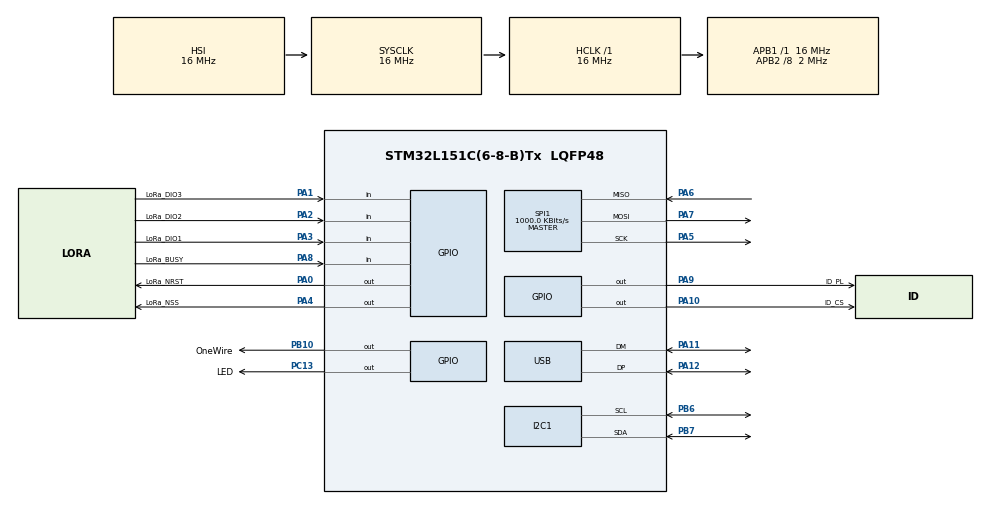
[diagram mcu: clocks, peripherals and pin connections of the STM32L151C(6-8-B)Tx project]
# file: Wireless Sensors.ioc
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Mcu.Family=STM32L1
Mcu.Name=STM32L151C(6-8-B)Tx
Mcu.Package=LQFP48
NVIC.PriorityGroup=NVIC_PRIORITYGROUP_4
NVIC.USB_LP_IRQn=true\:0\:0\:false\:false\:true\:false\:true\:true
PA0-WKUP1.GPIO_Label=LoRa_NRST
PA0-WKUP1.Signal=GPIO_Output
PA1.GPIO_Label=LoRa_DIO3
PA1.Signal=GPIO_Input
PA10.GPIO_Label=ID_CS
PA10.Signal=GPIO_Output
PA11.Mode=Device
PA11.Signal=USB_DM
PA12.Mode=Device
PA12.Signal=USB_DP
PA13.Mode=Trace_Asynchronous_SW
PA13.Signal=SYS_JTMS-SWDIO
PA14.Mode=Trace_Asynchronous_SW
PA14.Signal=SYS_JTCK-SWCLK
PA2.GPIO_Label=LoRa_DIO2
PA2.Signal=GPIO_Input
PA3.GPIO_Label=LoRa_DIO1
PA3.Signal=GPIO_Input
PA4.GPIO_Label=LoRa_NSS
PA4.Signal=GPIO_Output
PA5.Mode=Full_Duplex_Master
PA5.Signal=SPI1_SCK
PA6.Mode=Full_Duplex_Master
PA6.Signal=SPI1_MISO
PA7.Mode=Full_Duplex_Master
PA7.Signal=SPI1_MOSI
PA8.GPIO_Label=LoRa_BUSY
PA8.Signal=GPIO_Input
PA9.GPIO_Label=ID_PL
PA9.Signal=GPIO_Output
PB10.GPIO_Label=OneWire
PB10.Signal=GPIO_Output
PB3.Mode=Trace_Asynchronous_SW
PB3.Signal=SYS_JTDO-TRACESWO
PB6.Mode=I2C
PB6.Signal=I2C1_SCL
PB7.Mode=I2C
PB7.Signal=I2C1_SDA
PC13-WKUP2.GPIO_Label=LED
PC13-WKUP2.Signal=GPIO_Output
PH0-OSC_IN.Mode=HSE-External-Oscillator
PH0-OSC_IN.Signal=RCC_OSC_IN
PH1-OSC_OUT.Mode=HSE-External-Oscillator
PH1-OSC_OUT.Signal=RCC_OSC_OUT
ProjectManager.HeapSize=0x200
ProjectManager.StackSize=0x400
ProjectManager.TargetToolchain=STM32CubeIDE
RCC.48MHZClocksFreq_Value=48000000
RCC.AHBFreq_Value=16000000
RCC.APB1Freq_Value=16000000
RCC.APB1TimFreq_Value=16000000
RCC.APB2CLKDivider=RCC_HCLK_DIV8
RCC.APB2Freq_Value=2000000
RCC.APB2TimFreq_Value=4000000
RCC.HCLKFreq_Value=16000000
RCC.HSE_VALUE=16000000
RCC.HSI_VALUE=16000000
RCC.LSE_VALUE=32768
RCC.MSI_VALUE=2097000
RCC.PLLMUL=RCC_PLL_MUL6
RCC.SYSCLKFreq_VALUE=16000000
RCC.SYSCLKSource=RCC_SYSCLKSOURCE_HSI
RCC.VCOOutputFreq_Value=96000000
SPI1.CalculateBaudRate=1000.0 KBits/s
SPI1.Direction=SPI_DIRECTION_2LINES
SPI1.Mode=SPI_MODE_MASTER
SPI1.VirtualType=VM_MASTER
USB.low_power_enable=DISABLE
USB.lpm_enable=DISABLE
USB_DEVICE.CLASS_NAME_FS=CDC
USB_DEVICE.VirtualMode=Cdc
USB_DEVICE.VirtualModeFS=Cdc_FS
VP_USB_DEVICE_VS_USB_DEVICE_CDC_FS.Mode=CDC_FS
board=custom

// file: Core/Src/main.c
/* USER CODE BEGIN Header */
/**
  ******************************************************************************
  * @file           : main.c
  * @brief          : Main program body
  ******************************************************************************
  * @attention
  *
  * Copyright (c) 2023 STMicroelectronics.
  * All rights reserved.
  *
  * This software is licensed under terms that can be found in the LICENSE file
  * in the root directory of this software component.
  * If no LICENSE file comes with this software, it is provided AS-IS.
  *
  ******************************************************************************
  */
/* USER CODE END Header */
#include "main.h"
#include "usb_device.h"

/* USER CODE BEGIN Includes */
#include "usbd_cdc_if.h"
#include <SX1262.h>

/* USER CODE END Includes */

I2C_HandleTypeDef hi2c1;

SPI_HandleTypeDef hspi1;

void SystemClock_Config(void);
static void MX_GPIO_Init(void);
static void MX_I2C1_Init(void);
static void MX_SPI1_Init(void);

/* USER CODE BEGIN 0 */

uint8_t ReadModuleID(void)
{
	uint8_t id;

	HAL_SPI_Receive(&hspi1, &id, 1, 100);				/* this read is just to initialize everything */
	HAL_GPIO_WritePin (GPIOA, ID_PL_Pin, GPIO_PIN_RESET); /* Pull ID load signal low to prepare to load the shift register */
	HAL_GPIO_WritePin (GPIOA, ID_PL_Pin, GPIO_PIN_SET);   /* Pull ID load signal high to load the shift register */
	HAL_GPIO_WritePin (GPIOA, ID_CS_Pin, GPIO_PIN_RESET); /* Pull CS signal low to gate signal onto SPI bus */
	HAL_SPI_Receive(&hspi1, &id, 1, 100);				/* read module ID */
	HAL_GPIO_WritePin (GPIOA, ID_CS_Pin, GPIO_PIN_SET); /* Pull CS signal high to release SPI bus */
	return(id);
}

/* USER CODE END 0 */

int main(void)
{

  /* MCU Configuration--------------------------------------------------------*/

  /* Reset of all peripherals, Initializes the Flash interface and the Systick. */
  HAL_Init();

  /* Configure the system clock */
  SystemClock_Config();

  /* Initialize all configured peripherals */
  MX_GPIO_Init();
  MX_I2C1_Init();
  MX_SPI1_Init();
  MX_USB_DEVICE_Init();
  /* USER CODE BEGIN 2 */

  /* initialize the LoRa chip */
 // LoRa_Init(&hspi1);

  /* Send a status message to USB port */
  uint8_t buffer[256];
  sprintf((char *)buffer, "Entering transmit loop\r\n");
  CDC_Transmit_FS(buffer, strlen((char *)buffer)); /* Send the message on USB */

  int count = 0;
  uint8_t moduleID;

  /* USER CODE END 2 */

  /* Infinite loop */
  /* USER CODE BEGIN WHILE */
  while (1)
  {
	  count++;
	  sprintf((char *)buffer, "Count = %d\r\n", count);
	  HAL_GPIO_WritePin(LED_GPIO_Port, LED_Pin, GPIO_PIN_SET); /* Turn on the LED */
//	  LoRaTransmit(buffer, strlen((char *)buffer));
	  moduleID = ReadModuleID();
	  HAL_Delay(500);
	  HAL_GPIO_WritePin(LED_GPIO_Port, LED_Pin, GPIO_PIN_RESET); /* Turn off the LED */
//	  LoRaReceive(buffer, 0); /* go to receive mode with timeout = 0 (wait forever for one message) */
	  CDC_Transmit_FS(buffer, strlen((char *)buffer)); /* Send the message on USB */
	  HAL_Delay(500);
  }
    /* USER CODE END WHILE */

}

void SystemClock_Config(void)
{
  RCC_OscInitTypeDef RCC_OscInitStruct = {0};
  RCC_ClkInitTypeDef RCC_ClkInitStruct = {0};

  /** Configure the main internal regulator output voltage
  */
  __HAL_PWR_VOLTAGESCALING_CONFIG(PWR_REGULATOR_VOLTAGE_SCALE1);

  /** Initializes the RCC Oscillators according to the specified parameters
  * in the RCC_OscInitTypeDef structure.
  */
  RCC_OscInitStruct.OscillatorType = RCC_OSCILLATORTYPE_HSI|RCC_OSCILLATORTYPE_HSE;
  RCC_OscInitStruct.HSEState = RCC_HSE_ON;
  RCC_OscInitStruct.HSIState = RCC_HSI_ON;
  RCC_OscInitStruct.HSICalibrationValue = RCC_HSICALIBRATION_DEFAULT;
  RCC_OscInitStruct.PLL.PLLState = RCC_PLL_ON;
  RCC_OscInitStruct.PLL.PLLSource = RCC_PLLSOURCE_HSE;
  RCC_OscInitStruct.PLL.PLLMUL = RCC_PLL_MUL6;
  RCC_OscInitStruct.PLL.PLLDIV = RCC_PLL_DIV2;
  if (HAL_RCC_OscConfig(&RCC_OscInitStruct) != HAL_OK)
  {
    Error_Handler();
  }

  /** Initializes the CPU, AHB and APB buses clocks
  */
  RCC_ClkInitStruct.ClockType = RCC_CLOCKTYPE_HCLK|RCC_CLOCKTYPE_SYSCLK
                              |RCC_CLOCKTYPE_PCLK1|RCC_CLOCKTYPE_PCLK2;
  RCC_ClkInitStruct.SYSCLKSource = RCC_SYSCLKSOURCE_HSI;
  RCC_ClkInitStruct.AHBCLKDivider = RCC_SYSCLK_DIV1;
  RCC_ClkInitStruct.APB1CLKDivider = RCC_HCLK_DIV1;
  RCC_ClkInitStruct.APB2CLKDivider = RCC_HCLK_DIV8;

  if (HAL_RCC_ClockConfig(&RCC_ClkInitStruct, FLASH_LATENCY_0) != HAL_OK)
  {
    Error_Handler();
  }
}

static void MX_I2C1_Init(void)
{

  hi2c1.Instance = I2C1;
  hi2c1.Init.ClockSpeed = 100000;
  hi2c1.Init.DutyCycle = I2C_DUTYCYCLE_2;
  hi2c1.Init.OwnAddress1 = 0;
  hi2c1.Init.AddressingMode = I2C_ADDRESSINGMODE_7BIT;
  hi2c1.Init.DualAddressMode = I2C_DUALADDRESS_DISABLE;
  hi2c1.Init.OwnAddress2 = 0;
  hi2c1.Init.GeneralCallMode = I2C_GENERALCALL_DISABLE;
  hi2c1.Init.NoStretchMode = I2C_NOSTRETCH_DISABLE;
  if (HAL_I2C_Init(&hi2c1) != HAL_OK)
  {
    Error_Handler();
  }

}

static void MX_SPI1_Init(void)
{

  /* SPI1 parameter configuration*/
  hspi1.Instance = SPI1;
  hspi1.Init.Mode = SPI_MODE_MASTER;
  hspi1.Init.Direction = SPI_DIRECTION_2LINES;
  hspi1.Init.DataSize = SPI_DATASIZE_8BIT;
  hspi1.Init.CLKPolarity = SPI_POLARITY_HIGH;
  hspi1.Init.CLKPhase = SPI_PHASE_1EDGE;
  hspi1.Init.NSS = SPI_NSS_SOFT;
  hspi1.Init.BaudRatePrescaler = SPI_BAUDRATEPRESCALER_2;
  hspi1.Init.FirstBit = SPI_FIRSTBIT_MSB;
  hspi1.Init.CRCCalculation = SPI_CRCCALCULATION_DISABLE;
  hspi1.Init.CRCPolynomial = 10;
  if (HAL_SPI_Init(&hspi1) != HAL_OK)
  {
    Error_Handler();
  }

}

static void MX_GPIO_Init(void)
{
  GPIO_InitTypeDef GPIO_InitStruct = {0};

  /* GPIO Ports Clock Enable */
  __HAL_RCC_GPIOC_CLK_ENABLE();
  __HAL_RCC_GPIOH_CLK_ENABLE();
  __HAL_RCC_GPIOA_CLK_ENABLE();
  __HAL_RCC_GPIOB_CLK_ENABLE();

  /*Configure GPIO pin Output Level */
  HAL_GPIO_WritePin(LED_GPIO_Port, LED_Pin, GPIO_PIN_RESET);

  /*Configure GPIO pin Output Level */
  HAL_GPIO_WritePin(GPIOA, LoRa_NRST_Pin|LoRa_NSS_Pin|ID_PL_Pin|ID_CS_Pin, GPIO_PIN_RESET);

  /*Configure GPIO pin Output Level */
  HAL_GPIO_WritePin(OneWire_GPIO_Port, OneWire_Pin, GPIO_PIN_RESET);

  /*Configure GPIO pin : LED_Pin */
  GPIO_InitStruct.Pin = LED_Pin;
  GPIO_InitStruct.Mode = GPIO_MODE_OUTPUT_PP;
  GPIO_InitStruct.Pull = GPIO_NOPULL;
  GPIO_InitStruct.Speed = GPIO_SPEED_FREQ_LOW;
  HAL_GPIO_Init(LED_GPIO_Port, &GPIO_InitStruct);

  /*Configure GPIO pins : LoRa_NRST_Pin LoRa_NSS_Pin ID_PL_Pin ID_CS_Pin */
  GPIO_InitStruct.Pin = LoRa_NRST_Pin|LoRa_NSS_Pin|ID_PL_Pin|ID_CS_Pin;
  GPIO_InitStruct.Mode = GPIO_MODE_OUTPUT_PP;
  GPIO_InitStruct.Pull = GPIO_NOPULL;
  GPIO_InitStruct.Speed = GPIO_SPEED_FREQ_LOW;
  HAL_GPIO_Init(GPIOA, &GPIO_InitStruct);

  /*Configure GPIO pins : LoRa_DIO3_Pin LoRa_DIO2_Pin LoRa_DIO1_Pin LoRa_BUSY_Pin */
  GPIO_InitStruct.Pin = LoRa_DIO3_Pin|LoRa_DIO2_Pin|LoRa_DIO1_Pin|LoRa_BUSY_Pin;
  GPIO_InitStruct.Mode = GPIO_MODE_INPUT;
  GPIO_InitStruct.Pull = GPIO_NOPULL;
  HAL_GPIO_Init(GPIOA, &GPIO_InitStruct);

  /*Configure GPIO pin : OneWire_Pin */
  GPIO_InitStruct.Pin = OneWire_Pin;
  GPIO_InitStruct.Mode = GPIO_MODE_OUTPUT_PP;
  GPIO_InitStruct.Pull = GPIO_NOPULL;
  GPIO_InitStruct.Speed = GPIO_SPEED_FREQ_LOW;
  HAL_GPIO_Init(OneWire_GPIO_Port, &GPIO_InitStruct);

}

void Error_Handler(void)
{
  __disable_irq();
  while (1)
  {
  }
}
